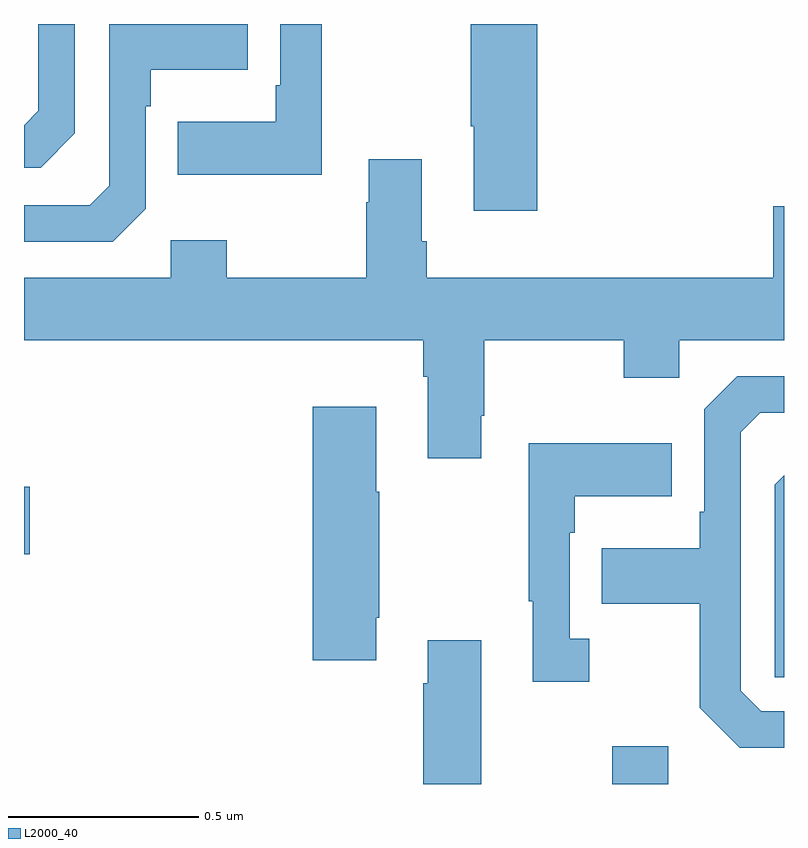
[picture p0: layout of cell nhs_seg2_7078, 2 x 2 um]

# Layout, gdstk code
import gdstk
lib = gdstk.Library(unit=1e-6, precision=1e-09)
def R(c, l, rs):  # rectangles x0, y0, x1, y1
    for r in rs: c.add(gdstk.rectangle(r[:2], r[2:], *l))
def P(c, l, *ps):  # polygons
    for p in ps: c.add(gdstk.Polygon(p, *l))
L2000_40 = (2000, 40)

nhs_seg2_7078 = lib.new_cell('nhs_seg2_7078')
R(nhs_seg2_7078, L2000_40, [(200.548,647.8,200.695,647.899), (199,648.404,199.015,648.582)])
P(nhs_seg2_7078, L2000_40, [(199.134,649.512),(199.134,649.8),(199.038,649.8),(199.038,649.572),(199,649.534),(199,649.422),(199.044,649.422)],
  [(199.783,649.8),(199.674,649.8),(199.674,649.639),(199.662,649.639),(199.662,649.543),(199.405,649.543),(199.405,649.403),(199.783,649.403)],
  [(199.32,649.314),(199.32,649.583),(199.333,649.583),(199.333,649.679),(199.589,649.679),(199.589,649.8),(199.224,649.8),(199.224,649.374),(199.173,649.323),(199,649.323),(199,649.227),(199.233,649.227)],
  [(200.351,649.8),(200.176,649.8),(200.176,649.531),(200.183,649.531),(200.183,649.308),(200.351,649.308)],
  [(200.203,648.769),(200.211,648.769),(200.211,648.968),(200.578,648.968),(200.578,648.869),(200.724,648.869),(200.724,648.968),(201,648.968),(201,649.321),(200.972,649.321),(200.972,649.132),(200.06,649.132),(200.06,649.228),(200.047,649.228),(200.047,649.444),(199.907,649.444),(199.907,649.331),(199.9,649.331),(199.9,649.132),(199.533,649.132),(199.533,649.231),(199.386,649.231),(199.386,649.132),(199,649.132),(199,648.968),(200.051,648.968),(200.051,648.872),(200.063,648.872),(200.063,648.657),(200.203,648.657)],
  [(201,647.991),(200.94,647.991),(200.886,648.045),(200.886,648.726),(200.937,648.777),(201,648.777),(201,648.873),(200.877,648.873),(200.79,648.786),(200.79,648.517),(200.778,648.517),(200.778,648.421),(200.521,648.421),(200.521,648.274),(200.778,648.274),(200.778,648.001),(200.883,647.895),(201,647.895)],
  [(199.927,648.238),(199.935,648.238),(199.935,648.569),(199.927,648.569),(199.927,648.793),(199.76,648.793),(199.76,648.126),(199.927,648.126)],
  [(200.488,648.182),(200.436,648.182),(200.436,648.461),(200.449,648.461),(200.449,648.557),(200.705,648.557),(200.705,648.697),(200.328,648.697),(200.328,648.281),(200.339,648.281),(200.339,648.069),(200.488,648.069)],
  [(201,648.612),(200.976,648.588),(200.976,648.081),(201,648.081)],
  [(200.063,648.178),(200.063,648.065),(200.051,648.065),(200.051,647.8),(200.203,647.8),(200.203,648.178)])

lib.write_gds('nhs_seg2_7078.gds')
